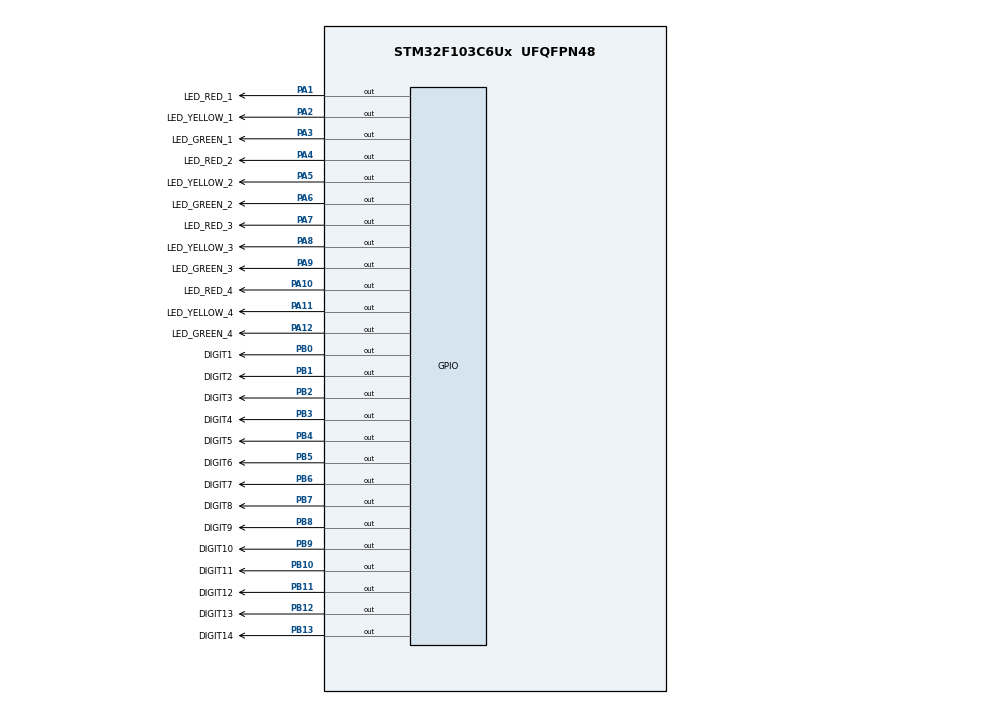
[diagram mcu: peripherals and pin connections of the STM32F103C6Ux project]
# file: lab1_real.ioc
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Mcu.Family=STM32F1
Mcu.Name=STM32F103C6Ux
Mcu.Package=UFQFPN48
NVIC.PriorityGroup=NVIC_PRIORITYGROUP_4
PA1.GPIO_Label=LED_RED_1
PA1.Signal=GPIO_Output
PA10.GPIO_Label=LED_RED_4
PA10.Signal=GPIO_Output
PA11.GPIO_Label=LED_YELLOW_4
PA11.Signal=GPIO_Output
PA12.GPIO_Label=LED_GREEN_4
PA12.Signal=GPIO_Output
PA2.GPIO_Label=LED_YELLOW_1
PA2.Signal=GPIO_Output
PA3.GPIO_Label=LED_GREEN_1
PA3.Signal=GPIO_Output
PA4.GPIO_Label=LED_RED_2
PA4.Signal=GPIO_Output
PA5.GPIO_Label=LED_YELLOW_2
PA5.Signal=GPIO_Output
PA6.GPIO_Label=LED_GREEN_2
PA6.Signal=GPIO_Output
PA7.GPIO_Label=LED_RED_3
PA7.Signal=GPIO_Output
PA8.GPIO_Label=LED_YELLOW_3
PA8.Signal=GPIO_Output
PA9.GPIO_Label=LED_GREEN_3
PA9.Signal=GPIO_Output
PB0.GPIO_Label=DIGIT1
PB0.Signal=GPIO_Output
PB1.GPIO_Label=DIGIT2
PB1.Signal=GPIO_Output
PB10.GPIO_Label=DIGIT11
PB10.Signal=GPIO_Output
PB11.GPIO_Label=DIGIT12
PB11.Signal=GPIO_Output
PB12.GPIO_Label=DIGIT13
PB12.Signal=GPIO_Output
PB13.GPIO_Label=DIGIT14
PB13.Signal=GPIO_Output
PB2.GPIO_Label=DIGIT3
PB2.Signal=GPIO_Output
PB3.GPIO_Label=DIGIT4
PB3.Signal=GPIO_Output
PB4.GPIO_Label=DIGIT5
PB4.Signal=GPIO_Output
PB5.GPIO_Label=DIGIT6
PB5.Signal=GPIO_Output
PB6.GPIO_Label=DIGIT7
PB6.Signal=GPIO_Output
PB7.GPIO_Label=DIGIT8
PB7.Signal=GPIO_Output
PB8.GPIO_Label=DIGIT9
PB8.Signal=GPIO_Output
PB9.GPIO_Label=DIGIT10
PB9.Signal=GPIO_Output
ProjectManager.HeapSize=0x200
ProjectManager.StackSize=0x400
ProjectManager.TargetToolchain=STM32CubeIDE
RCC.APB1Freq_Value=8000000
RCC.APB2Freq_Value=8000000
VP_SYS_VS_ND.Mode=No_Debug
board=custom

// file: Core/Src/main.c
/* USER CODE BEGIN Header */
/**
  ******************************************************************************
  * @file           : main.c
  * @brief          : Main program body
  ******************************************************************************
  * @attention
  *
  * <h2><center>&copy; Copyright (c) 2024 STMicroelectronics.
  * All rights reserved.</center></h2>
  *
  * This software component is licensed by ST under BSD 3-Clause license,
  * the "License"; You may not use this file except in compliance with the
  * License. You may obtain a copy of the License at:
  *                        opensource.org/licenses/BSD-3-Clause
  *
  ******************************************************************************
  */
/* USER CODE END Header */
#include "main.h"

void SystemClock_Config(void);
static void MX_GPIO_Init(void);
/* USER CODE BEGIN PFP */
void display7SEG_1_3(int num);
void display7SEG_2_4(int num);
/* USER CODE END PFP */

int main(void)
{

  /* MCU Configuration--------------------------------------------------------*/

  /* Reset of all peripherals, Initializes the Flash interface and the Systick. */
  HAL_Init();

  /* Configure the system clock */
  SystemClock_Config();

  /* Initialize all configured peripherals */
  MX_GPIO_Init();

  /* Infinite loop */
  /* USER CODE BEGIN WHILE */

  int counter_1 = 0;
  int counter_2 = 0;

  while (1)
  {
	  //****	LED 1 AND 3    ****
	  if (counter_1 < 3) {
		  //LED 1
		  HAL_GPIO_WritePin(GPIOA, LED_RED_1_Pin, GPIO_PIN_SET);
	      HAL_GPIO_WritePin(GPIOA, LED_YELLOW_1_Pin, GPIO_PIN_SET);
	      HAL_GPIO_WritePin(GPIOA, LED_GREEN_1_Pin, GPIO_PIN_RESET);

	      //LED 3
	      HAL_GPIO_WritePin(GPIOA, LED_RED_3_Pin, GPIO_PIN_SET);
	      HAL_GPIO_WritePin(GPIOA, LED_YELLOW_3_Pin, GPIO_PIN_SET);
	      HAL_GPIO_WritePin(GPIOA, LED_GREEN_3_Pin, GPIO_PIN_RESET);

	      display7SEG_1_3(3 - counter_1);
	  }

	  if (counter_1 < 5 && counter_1 >= 3) {
		  //LED 1
		  HAL_GPIO_WritePin(GPIOA, LED_RED_1_Pin, GPIO_PIN_SET);
	  	  HAL_GPIO_WritePin(GPIOA, LED_YELLOW_1_Pin, GPIO_PIN_RESET);
	  	  HAL_GPIO_WritePin(GPIOA, LED_GREEN_1_Pin, GPIO_PIN_SET);

	  	  //LED 3
	  	  HAL_GPIO_WritePin(GPIOA, LED_RED_3_Pin, GPIO_PIN_SET);
	  	  HAL_GPIO_WritePin(GPIOA, LED_YELLOW_3_Pin, GPIO_PIN_RESET);
	  	  HAL_GPIO_WritePin(GPIOA, LED_GREEN_3_Pin, GPIO_PIN_SET);

	  	  display7SEG_1_3((5 - counter_1));
	  }

	  if (counter_1 < 10 && counter_1 >= 5) {
		  //LED 1
		  HAL_GPIO_WritePin(GPIOA, LED_RED_1_Pin, GPIO_PIN_RESET);
	  	  HAL_GPIO_WritePin(GPIOA, LED_YELLOW_1_Pin, GPIO_PIN_SET);
	  	  HAL_GPIO_WritePin(GPIOA, LED_GREEN_1_Pin, GPIO_PIN_SET);

	  	  //LED 3
	  	  HAL_GPIO_WritePin(GPIOA, LED_RED_3_Pin, GPIO_PIN_RESET);
	  	  HAL_GPIO_WritePin(GPIOA, LED_YELLOW_3_Pin, GPIO_PIN_SET);
	  	  HAL_GPIO_WritePin(GPIOA, LED_GREEN_3_Pin, GPIO_PIN_SET);

	  	  display7SEG_1_3((10 - counter_1));
	  }

	  //****	LED 2 AND 4    ****
	  if (counter_2 < 5) {
	      //LED 2
	  	  HAL_GPIO_WritePin(GPIOA, LED_RED_2_Pin, GPIO_PIN_RESET);
	  	  HAL_GPIO_WritePin(GPIOA, LED_YELLOW_2_Pin, GPIO_PIN_SET);
	  	  HAL_GPIO_WritePin(GPIOA, LED_GREEN_2_Pin, GPIO_PIN_SET);

	  	  //LED 4
	  	  HAL_GPIO_WritePin(GPIOA, LED_RED_4_Pin, GPIO_PIN_RESET);
	  	  HAL_GPIO_WritePin(GPIOA, LED_YELLOW_4_Pin, GPIO_PIN_SET);
	  	  HAL_GPIO_WritePin(GPIOA, LED_GREEN_4_Pin, GPIO_PIN_SET);

	  	  display7SEG_2_4(5 - counter_2);
	  }

	 if (counter_2 < 8 && counter_2 >= 5) {
	  	  //LED 2
	  	  HAL_GPIO_WritePin(GPIOA, LED_RED_2_Pin, GPIO_PIN_SET);
	  	  HAL_GPIO_WritePin(GPIOA, LED_YELLOW_2_Pin, GPIO_PIN_SET);
	  	  HAL_GPIO_WritePin(GPIOA, LED_GREEN_2_Pin, GPIO_PIN_RESET);

	  	  //LED 4
	  	  HAL_GPIO_WritePin(GPIOA, LED_RED_4_Pin, GPIO_PIN_SET);
	  	  HAL_GPIO_WritePin(GPIOA, LED_YELLOW_4_Pin, GPIO_PIN_SET);
	  	  HAL_GPIO_WritePin(GPIOA, LED_GREEN_4_Pin, GPIO_PIN_RESET);

	  	  display7SEG_2_4((8 - counter_2));
	 }

	 if (counter_2 < 10 && counter_2 >= 8) {
	  	  //LED 2
	  	  HAL_GPIO_WritePin(GPIOA, LED_RED_2_Pin, GPIO_PIN_SET);
	  	  HAL_GPIO_WritePin(GPIOA, LED_YELLOW_2_Pin, GPIO_PIN_RESET);
	  	  HAL_GPIO_WritePin(GPIOA, LED_GREEN_2_Pin, GPIO_PIN_SET);

	  	  //LED 4
	  	  HAL_GPIO_WritePin(GPIOA, LED_RED_4_Pin, GPIO_PIN_SET);
	  	  HAL_GPIO_WritePin(GPIOA, LED_YELLOW_4_Pin, GPIO_PIN_RESET);
	  	  HAL_GPIO_WritePin(GPIOA, LED_GREEN_4_Pin, GPIO_PIN_SET);

	  	  display7SEG_2_4((10 - counter_2));
	 }

	  //display7SEG_2_4(counter_2);

	 counter_1++;
	 counter_2++;

	 if (counter_1 > 9)
	 {
		 counter_1 = 0;
		 counter_2 = 0;
	 }

	 HAL_Delay(1000);
    /* USER CODE END WHILE */

  }
}

void SystemClock_Config(void)
{
  RCC_OscInitTypeDef RCC_OscInitStruct = {0};
  RCC_ClkInitTypeDef RCC_ClkInitStruct = {0};

  /** Initializes the RCC Oscillators according to the specified parameters
  * in the RCC_OscInitTypeDef structure.
  */
  RCC_OscInitStruct.OscillatorType = RCC_OSCILLATORTYPE_HSI;
  RCC_OscInitStruct.HSIState = RCC_HSI_ON;
  RCC_OscInitStruct.HSICalibrationValue = RCC_HSICALIBRATION_DEFAULT;
  RCC_OscInitStruct.PLL.PLLState = RCC_PLL_NONE;
  if (HAL_RCC_OscConfig(&RCC_OscInitStruct) != HAL_OK)
  {
    Error_Handler();
  }
  /** Initializes the CPU, AHB and APB buses clocks
  */
  RCC_ClkInitStruct.ClockType = RCC_CLOCKTYPE_HCLK|RCC_CLOCKTYPE_SYSCLK
                              |RCC_CLOCKTYPE_PCLK1|RCC_CLOCKTYPE_PCLK2;
  RCC_ClkInitStruct.SYSCLKSource = RCC_SYSCLKSOURCE_HSI;
  RCC_ClkInitStruct.AHBCLKDivider = RCC_SYSCLK_DIV1;
  RCC_ClkInitStruct.APB1CLKDivider = RCC_HCLK_DIV1;
  RCC_ClkInitStruct.APB2CLKDivider = RCC_HCLK_DIV1;

  if (HAL_RCC_ClockConfig(&RCC_ClkInitStruct, FLASH_LATENCY_0) != HAL_OK)
  {
    Error_Handler();
  }
}

static void MX_GPIO_Init(void)
{
  GPIO_InitTypeDef GPIO_InitStruct = {0};

  /* GPIO Ports Clock Enable */
  __HAL_RCC_GPIOA_CLK_ENABLE();
  __HAL_RCC_GPIOB_CLK_ENABLE();

  /*Configure GPIO pin Output Level */
  HAL_GPIO_WritePin(GPIOA, LED_RED_1_Pin|LED_YELLOW_1_Pin|LED_GREEN_1_Pin|LED_RED_2_Pin
                          |LED_YELLOW_2_Pin|LED_GREEN_2_Pin|LED_RED_3_Pin|LED_YELLOW_3_Pin
                          |LED_GREEN_3_Pin|LED_RED_4_Pin|LED_YELLOW_4_Pin|LED_GREEN_4_Pin, GPIO_PIN_RESET);

  /*Configure GPIO pin Output Level */
  HAL_GPIO_WritePin(GPIOB, DIGIT1_Pin|DIGIT2_Pin|DIGIT3_Pin|DIGIT11_Pin
                          |DIGIT12_Pin|DIGIT13_Pin|DIGIT14_Pin|DIGIT4_Pin
                          |DIGIT5_Pin|DIGIT6_Pin|DIGIT7_Pin|DIGIT8_Pin
                          |DIGIT9_Pin|DIGIT10_Pin, GPIO_PIN_RESET);

  /*Configure GPIO pins : LED_RED_1_Pin LED_YELLOW_1_Pin LED_GREEN_1_Pin LED_RED_2_Pin
                           LED_YELLOW_2_Pin LED_GREEN_2_Pin LED_RED_3_Pin LED_YELLOW_3_Pin
                           LED_GREEN_3_Pin LED_RED_4_Pin LED_YELLOW_4_Pin LED_GREEN_4_Pin */
  GPIO_InitStruct.Pin = LED_RED_1_Pin|LED_YELLOW_1_Pin|LED_GREEN_1_Pin|LED_RED_2_Pin
                          |LED_YELLOW_2_Pin|LED_GREEN_2_Pin|LED_RED_3_Pin|LED_YELLOW_3_Pin
                          |LED_GREEN_3_Pin|LED_RED_4_Pin|LED_YELLOW_4_Pin|LED_GREEN_4_Pin;
  GPIO_InitStruct.Mode = GPIO_MODE_OUTPUT_PP;
  GPIO_InitStruct.Pull = GPIO_NOPULL;
  GPIO_InitStruct.Speed = GPIO_SPEED_FREQ_LOW;
  HAL_GPIO_Init(GPIOA, &GPIO_InitStruct);

  /*Configure GPIO pins : DIGIT1_Pin DIGIT2_Pin DIGIT3_Pin DIGIT11_Pin
                           DIGIT12_Pin DIGIT13_Pin DIGIT14_Pin DIGIT4_Pin
                           DIGIT5_Pin DIGIT6_Pin DIGIT7_Pin DIGIT8_Pin
                           DIGIT9_Pin DIGIT10_Pin */
  GPIO_InitStruct.Pin = DIGIT1_Pin|DIGIT2_Pin|DIGIT3_Pin|DIGIT11_Pin
                          |DIGIT12_Pin|DIGIT13_Pin|DIGIT14_Pin|DIGIT4_Pin
                          |DIGIT5_Pin|DIGIT6_Pin|DIGIT7_Pin|DIGIT8_Pin
                          |DIGIT9_Pin|DIGIT10_Pin;
  GPIO_InitStruct.Mode = GPIO_MODE_OUTPUT_PP;
  GPIO_InitStruct.Pull = GPIO_NOPULL;
  GPIO_InitStruct.Speed = GPIO_SPEED_FREQ_LOW;
  HAL_GPIO_Init(GPIOB, &GPIO_InitStruct);

}

/* USER CODE BEGIN 4 */

void display7SEG_1_3(int num)
{
    switch(num)
    {
        case 0:
            HAL_GPIO_WritePin(GPIOB, DIGIT1_Pin | DIGIT2_Pin | DIGIT3_Pin | DIGIT4_Pin | DIGIT5_Pin | DIGIT6_Pin, GPIO_PIN_RESET);
            HAL_GPIO_WritePin(GPIOB, DIGIT7_Pin, GPIO_PIN_SET);
            break;
        case 1:
            HAL_GPIO_WritePin(GPIOB, DIGIT2_Pin | DIGIT3_Pin, GPIO_PIN_RESET);
            HAL_GPIO_WritePin(GPIOB, DIGIT1_Pin | DIGIT4_Pin | DIGIT5_Pin | DIGIT6_Pin | DIGIT7_Pin, GPIO_PIN_SET);
            break;
        case 2:
            HAL_GPIO_WritePin(GPIOB, DIGIT1_Pin | DIGIT2_Pin | DIGIT4_Pin | DIGIT5_Pin | DIGIT7_Pin, GPIO_PIN_RESET);
            HAL_GPIO_WritePin(GPIOB, DIGIT3_Pin | DIGIT6_Pin , GPIO_PIN_SET);
            break;
        case 3:
            HAL_GPIO_WritePin(GPIOB, DIGIT1_Pin | DIGIT2_Pin | DIGIT3_Pin | DIGIT4_Pin | DIGIT7_Pin, GPIO_PIN_RESET);
            HAL_GPIO_WritePin(GPIOB, DIGIT5_Pin | DIGIT6_Pin, GPIO_PIN_SET);
            break;
        case 4:
            HAL_GPIO_WritePin(GPIOB, DIGIT2_Pin | DIGIT3_Pin | DIGIT6_Pin | DIGIT7_Pin, GPIO_PIN_RESET);
            HAL_GPIO_WritePin(GPIOB, DIGIT1_Pin | DIGIT4_Pin | DIGIT5_Pin, GPIO_PIN_SET);
            break;
        case 5:
            HAL_GPIO_WritePin(GPIOB, DIGIT1_Pin | DIGIT3_Pin | DIGIT4_Pin | DIGIT6_Pin | DIGIT7_Pin, GPIO_PIN_RESET);
            HAL_GPIO_WritePin(GPIOB, DIGIT2_Pin | DIGIT5_Pin, GPIO_PIN_SET);
            break;
        case 6:
            HAL_GPIO_WritePin(GPIOB, DIGIT1_Pin | DIGIT3_Pin | DIGIT4_Pin | DIGIT5_Pin | DIGIT6_Pin | DIGIT7_Pin, GPIO_PIN_RESET);
            HAL_GPIO_WritePin(GPIOB, DIGIT2_Pin, GPIO_PIN_SET);
            break;
        case 7:
            HAL_GPIO_WritePin(GPIOB, DIGIT1_Pin | DIGIT2_Pin | DIGIT3_Pin, GPIO_PIN_RESET);
            HAL_GPIO_WritePin(GPIOB, DIGIT4_Pin | DIGIT5_Pin | DIGIT6_Pin | DIGIT7_Pin, GPIO_PIN_SET);
            break;
        case 8:
            HAL_GPIO_WritePin(GPIOB, DIGIT1_Pin | DIGIT2_Pin | DIGIT3_Pin | DIGIT4_Pin | DIGIT5_Pin | DIGIT6_Pin | DIGIT7_Pin, GPIO_PIN_RESET);
            break;
        case 9:
            HAL_GPIO_WritePin(GPIOB, DIGIT1_Pin | DIGIT2_Pin | DIGIT3_Pin | DIGIT6_Pin | DIGIT7_Pin, GPIO_PIN_RESET);
            HAL_GPIO_WritePin(GPIOB, DIGIT4_Pin | DIGIT5_Pin, GPIO_PIN_SET);
            break;
        default:
            break;
    }
}

void display7SEG_2_4(int num)
{
    switch(num)
    {
        case 0:
            HAL_GPIO_WritePin(GPIOB, DIGIT8_Pin | DIGIT9_Pin | DIGIT10_Pin | DIGIT11_Pin | DIGIT12_Pin | DIGIT13_Pin, GPIO_PIN_RESET);
            HAL_GPIO_WritePin(GPIOB, DIGIT14_Pin, GPIO_PIN_SET);
            break;
        case 1:
            HAL_GPIO_WritePin(GPIOB, DIGIT9_Pin | DIGIT10_Pin, GPIO_PIN_RESET);
            HAL_GPIO_WritePin(GPIOB, DIGIT8_Pin | DIGIT11_Pin | DIGIT12_Pin | DIGIT13_Pin | DIGIT14_Pin, GPIO_PIN_SET);
            break;
        case 2:
            HAL_GPIO_WritePin(GPIOB, DIGIT8_Pin | DIGIT9_Pin | DIGIT11_Pin | DIGIT12_Pin | DIGIT14_Pin, GPIO_PIN_RESET);
            HAL_GPIO_WritePin(GPIOB, DIGIT10_Pin | DIGIT13_Pin , GPIO_PIN_SET);
            break;
        case 3:
            HAL_GPIO_WritePin(GPIOB, DIGIT8_Pin | DIGIT9_Pin | DIGIT10_Pin | DIGIT11_Pin | DIGIT14_Pin, GPIO_PIN_RESET);
            HAL_GPIO_WritePin(GPIOB, DIGIT12_Pin | DIGIT13_Pin, GPIO_PIN_SET);
            break;
        case 4:
            HAL_GPIO_WritePin(GPIOB, DIGIT9_Pin | DIGIT10_Pin | DIGIT13_Pin | DIGIT14_Pin, GPIO_PIN_RESET);
            HAL_GPIO_WritePin(GPIOB, DIGIT8_Pin | DIGIT11_Pin | DIGIT12_Pin, GPIO_PIN_SET);
            break;
        case 5:
            HAL_GPIO_WritePin(GPIOB, DIGIT8_Pin | DIGIT10_Pin | DIGIT11_Pin | DIGIT13_Pin | DIGIT14_Pin, GPIO_PIN_RESET);
            HAL_GPIO_WritePin(GPIOB, DIGIT9_Pin | DIGIT12_Pin, GPIO_PIN_SET);
            break;
        case 6:
            HAL_GPIO_WritePin(GPIOB, DIGIT8_Pin | DIGIT10_Pin | DIGIT11_Pin | DIGIT12_Pin | DIGIT13_Pin | DIGIT14_Pin, GPIO_PIN_RESET);
            HAL_GPIO_WritePin(GPIOB, DIGIT9_Pin, GPIO_PIN_SET);
            break;
        case 7:
            HAL_GPIO_WritePin(GPIOB, DIGIT8_Pin | DIGIT9_Pin | DIGIT10_Pin, GPIO_PIN_RESET);
            HAL_GPIO_WritePin(GPIOB, DIGIT11_Pin | DIGIT12_Pin | DIGIT13_Pin | DIGIT14_Pin, GPIO_PIN_SET);
            break;
        case 8:
            HAL_GPIO_WritePin(GPIOB, DIGIT8_Pin | DIGIT9_Pin | DIGIT10_Pin | DIGIT11_Pin | DIGIT12_Pin | DIGIT13_Pin | DIGIT14_Pin, GPIO_PIN_RESET);
            break;
        case 9:
            HAL_GPIO_WritePin(GPIOB, DIGIT8_Pin | DIGIT9_Pin | DIGIT10_Pin | DIGIT13_Pin | DIGIT14_Pin, GPIO_PIN_RESET);
            HAL_GPIO_WritePin(GPIOB, DIGIT11_Pin | DIGIT12_Pin, GPIO_PIN_SET);
            break;
        default:
            break;
    }
}

/* USER CODE END 4 */

void Error_Handler(void)
{
  __disable_irq();
  while (1)
  {
  }
}

/************************ (C) COPYRIGHT STMicroelectronics *****END OF FILE****/
